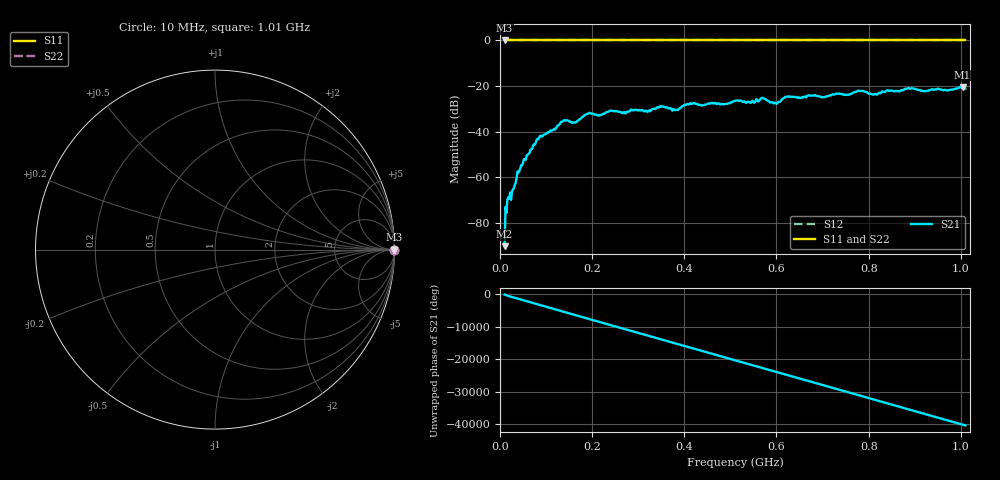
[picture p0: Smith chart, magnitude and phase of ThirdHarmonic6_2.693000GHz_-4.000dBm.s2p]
! 8/17/2025 6:23:58 AM
! C:\ANRITSUVNA\TEMP\TEMP.S2P
! CHANNEL.1
! TR.MEASUREMENT
! RAW.DATA
! RF.CORRECTION.OFF
! AVERAGING.OFF
! IF.BANDWIDTH: 5KHZ
! SWEEPTYPE:  FREQ.SWEEP(Linear)
! Reference Plane Port Info
! PORT:  PORT1  PORT2
! DISTANCE:  0  m  0  m
! TIME:  0  s  0  s
! PHASE.OFFSET:  0  deg.  0  deg.
! LOSS:  0  dB  0  dB
! REF.LOSS:  0  dB  0  dB
! REF.FREQ:  0  Hz  0  Hz
! Power Info
! POWER:  -20  dBm  -20  dBm
! EFF.POWER:  -20  dBm  -20  dBm
! SOURCE.ATTEN:  0  dB  0  dB
! TEST.ATTEN:  0  dB  0  dB
# GHZ S RI R 50.0
! FREQ.GHZ  S11RE  S11IM  S21RE  S21IM  S12RE  S12IM  S22RE  S22IM
!; PortSelection: Port_12
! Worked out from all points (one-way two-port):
!   501 points, 10 MHz to 1.01 GHz, reference 50 ohm
!   highest |S21| = -20.48 dB at 1.004 GHz (marker M1); lowest = -90.3 dB at 10 MHz (marker M2)
!   lowest |S11| = 0.0 dB at 10 MHz (marker M3)
!   |S11| at or under -10 dB: nowhere
!   |S22| runs from 0.0 to 0.0 dB; largest |S21 - S12| = 1.1
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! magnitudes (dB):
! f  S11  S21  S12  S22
! 10 MHz  0.0  -90.3  0.0  0.0
! 16 MHz  0.0  -70.0  0.0  0.0
! 28 MHz  0.0  -65.5  0.0  0.0
! 42 MHz  0.0  -57.3  0.0  0.0
! 84 MHz  0.0  -43.3  0.0  0.0
! 136 MHz  0.0  -35.5  0.0  0.0
! 162 MHz  0.0  -36.1  0.0  0.0
! 178 MHz  0.0  -33.6  0.0  0.0
! 194 MHz  0.0  -31.8  0.0  0.0
! 322 MHz  0.0  -31.1  0.0  0.0
! 344 MHz  0.0  -29.5  0.0  0.0
! 382 MHz  0.0  -30.5  0.0  0.0
! 410 MHz  0.0  -28.1  0.0  0.0
! 510 MHz  0.0  -26.5  0.0  0.0
! 570 MHz  0.0  -25.2  0.0  0.0
! 598 MHz  0.0  -27.4  0.0  0.0
! 622 MHz  0.0  -24.7  0.0  0.0
! 678 MHz  0.0  -24.2  0.0  0.0
! 814 MHz  0.0  -23.5  0.0  0.0
! 844 MHz  0.0  -22.1  0.0  0.0
! 1.004 GHz  0.0  -20.5  0.0  0.0
! 1.01 GHz  0.0  -21.2  0.0  0.0
